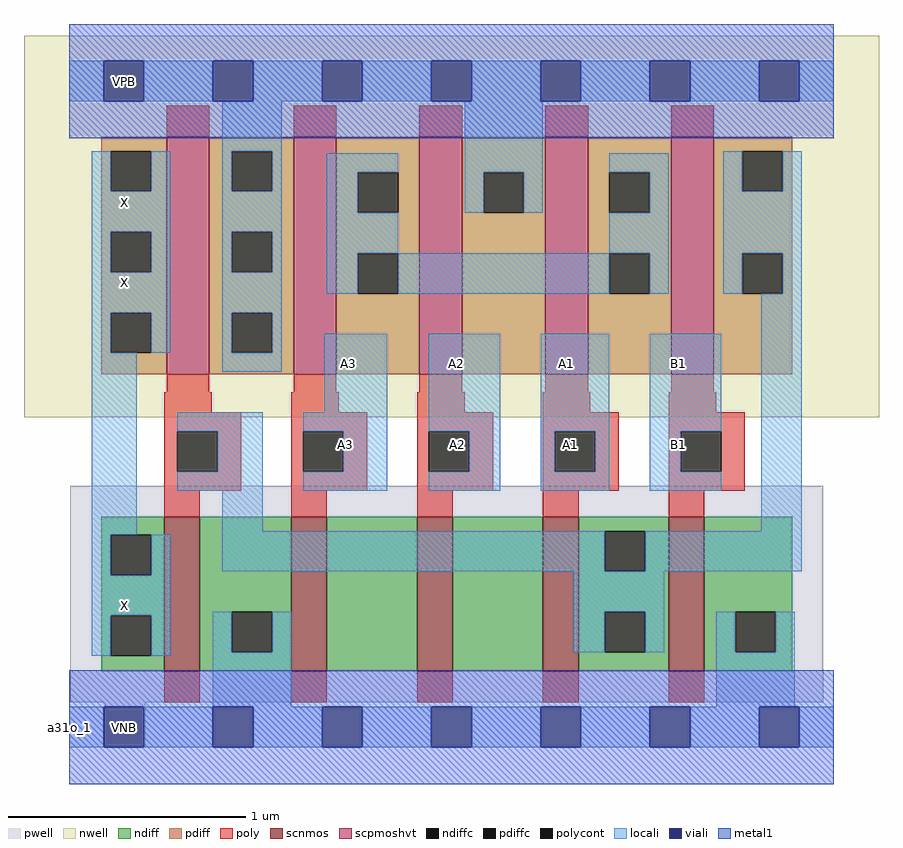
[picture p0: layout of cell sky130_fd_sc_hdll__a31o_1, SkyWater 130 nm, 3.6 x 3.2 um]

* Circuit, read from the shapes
.subckt sky130_fd_sc_hdll__a31o_1 A1 A2 A3 B1 VGND VNB VPB VPWR X
XM1 VGND n1 X VNB sky130_fd_pr__nfet_01v8 w=0.65 l=0.15
XM2 n2 A3 VGND VNB sky130_fd_pr__nfet_01v8 w=0.65 l=0.15
XM3 n3 A2 n2 VNB sky130_fd_pr__nfet_01v8 w=0.65 l=0.15
XM4 n1 A1 n3 VNB sky130_fd_pr__nfet_01v8 w=0.65 l=0.15
XM5 VGND B1 n1 VNB sky130_fd_pr__nfet_01v8 w=0.65 l=0.15
XM6 VPWR n1 X VPB sky130_fd_pr__pfet_01v8_hvt w=1 l=0.18
XM7 n4 A3 VPWR VPB sky130_fd_pr__pfet_01v8_hvt w=1 l=0.18
XM8 VPWR A2 n4 VPB sky130_fd_pr__pfet_01v8_hvt w=1 l=0.18
XM9 n4 A1 VPWR VPB sky130_fd_pr__pfet_01v8_hvt w=1 l=0.18
XM10 n1 B1 n4 VPB sky130_fd_pr__pfet_01v8_hvt w=1 l=0.18
.ends

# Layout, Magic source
magic
tech sky130A
magscale 1 2
<< nwell >>
rect -38 261 682 582
<< pwell >>
rect 1 21 635 203
rect 30 -17 64 21
<< scnmos >>
rect 80 47 110 177
rect 187 47 217 177
rect 293 47 323 177
rect 399 47 429 177
rect 505 47 535 177
<< scpmoshvt >>
rect 82 297 118 497
rect 189 297 225 497
rect 295 297 331 497
rect 401 297 437 497
rect 507 297 543 497
<< ndiff >>
rect 27 162 80 177
rect 27 128 35 162
rect 69 128 80 162
rect 27 94 80 128
rect 27 60 35 94
rect 69 60 80 94
rect 27 47 80 60
rect 110 97 187 177
rect 110 63 137 97
rect 171 63 187 97
rect 110 47 187 63
rect 217 47 293 177
rect 323 47 399 177
rect 429 165 505 177
rect 429 131 451 165
rect 485 131 505 165
rect 429 97 505 131
rect 429 63 451 97
rect 485 63 505 97
rect 429 47 505 63
rect 535 97 609 177
rect 535 63 561 97
rect 595 63 609 97
rect 535 47 609 63
<< pdiff >>
rect 27 485 82 497
rect 27 451 35 485
rect 69 451 82 485
rect 27 417 82 451
rect 27 383 35 417
rect 69 383 82 417
rect 27 349 82 383
rect 27 315 35 349
rect 69 315 82 349
rect 27 297 82 315
rect 118 485 189 497
rect 118 451 137 485
rect 171 451 189 485
rect 118 417 189 451
rect 118 383 137 417
rect 171 383 189 417
rect 118 349 189 383
rect 118 315 137 349
rect 171 315 189 349
rect 118 297 189 315
rect 225 467 295 497
rect 225 433 243 467
rect 277 433 295 467
rect 225 399 295 433
rect 225 365 243 399
rect 277 365 295 399
rect 225 297 295 365
rect 331 467 401 497
rect 331 433 349 467
rect 383 433 401 467
rect 331 297 401 433
rect 437 467 507 497
rect 437 433 455 467
rect 489 433 507 467
rect 437 399 507 433
rect 437 365 455 399
rect 489 365 507 399
rect 437 297 507 365
rect 543 485 609 497
rect 543 451 567 485
rect 601 451 609 485
rect 543 399 609 451
rect 543 365 567 399
rect 601 365 609 399
rect 543 297 609 365
<< ndiffc >>
rect 35 128 69 162
rect 35 60 69 94
rect 137 63 171 97
rect 451 131 485 165
rect 451 63 485 97
rect 561 63 595 97
<< pdiffc >>
rect 35 451 69 485
rect 35 383 69 417
rect 35 315 69 349
rect 137 451 171 485
rect 137 383 171 417
rect 137 315 171 349
rect 243 433 277 467
rect 243 365 277 399
rect 349 433 383 467
rect 455 433 489 467
rect 455 365 489 399
rect 567 451 601 485
rect 567 365 601 399
<< poly >>
rect 82 497 118 523
rect 189 497 225 523
rect 295 497 331 523
rect 401 497 437 523
rect 507 497 543 523
rect 82 282 118 297
rect 189 282 225 297
rect 295 282 331 297
rect 401 282 437 297
rect 507 282 543 297
rect 80 265 120 282
rect 187 265 227 282
rect 293 265 333 282
rect 399 265 439 282
rect 505 265 545 282
rect 80 249 145 265
rect 80 215 91 249
rect 125 215 145 249
rect 80 199 145 215
rect 187 249 251 265
rect 187 215 197 249
rect 231 215 251 249
rect 187 199 251 215
rect 293 249 357 265
rect 293 215 303 249
rect 337 215 357 249
rect 293 199 357 215
rect 399 249 463 265
rect 399 215 409 249
rect 443 215 463 249
rect 399 199 463 215
rect 505 249 569 265
rect 505 215 515 249
rect 549 215 569 249
rect 505 199 569 215
rect 80 177 110 199
rect 187 177 217 199
rect 293 177 323 199
rect 399 177 429 199
rect 505 177 535 199
rect 80 21 110 47
rect 187 21 217 47
rect 293 21 323 47
rect 399 21 429 47
rect 505 21 535 47
<< polycont >>
rect 91 215 125 249
rect 197 215 231 249
rect 303 215 337 249
rect 409 215 443 249
rect 515 215 549 249
<< locali >>
rect 0 527 29 561
rect 63 527 121 561
rect 155 527 213 561
rect 247 527 305 561
rect 339 527 397 561
rect 431 527 489 561
rect 523 527 581 561
rect 615 527 644 561
rect 129 485 179 527
rect 19 451 35 485
rect 69 451 85 485
rect 19 417 85 451
rect 19 383 35 417
rect 69 383 85 417
rect 19 349 85 383
rect 19 315 35 349
rect 69 315 85 349
rect 129 451 137 485
rect 171 451 179 485
rect 129 417 179 451
rect 129 383 137 417
rect 171 383 179 417
rect 129 349 179 383
rect 217 467 277 483
rect 217 433 243 467
rect 333 467 399 527
rect 333 433 349 467
rect 383 433 399 467
rect 455 467 505 483
rect 489 433 505 467
rect 217 399 277 433
rect 455 399 505 433
rect 217 365 243 399
rect 277 365 455 399
rect 489 365 505 399
rect 551 451 567 485
rect 601 451 617 485
rect 551 399 617 451
rect 551 365 567 399
rect 601 365 617 399
rect 129 315 137 349
rect 171 315 179 349
rect 19 162 57 315
rect 129 299 179 315
rect 215 265 268 331
rect 91 249 163 265
rect 125 215 163 249
rect 91 199 163 215
rect 197 249 268 265
rect 231 215 268 249
rect 197 199 268 215
rect 303 249 363 331
rect 337 215 363 249
rect 303 199 363 215
rect 397 249 455 331
rect 397 215 409 249
rect 443 215 455 249
rect 397 199 455 215
rect 489 249 549 331
rect 489 215 515 249
rect 489 199 549 215
rect 129 165 163 199
rect 583 165 617 365
rect 19 128 35 162
rect 69 128 85 162
rect 129 131 451 165
rect 485 131 617 165
rect 19 94 85 128
rect 425 97 501 131
rect 19 60 35 94
rect 69 60 85 94
rect 121 63 137 97
rect 171 63 187 97
rect 425 63 451 97
rect 485 63 501 97
rect 545 63 561 97
rect 595 63 611 97
rect 121 17 187 63
rect 545 17 611 63
rect 0 -17 29 17
rect 63 -17 121 17
rect 155 -17 213 17
rect 247 -17 305 17
rect 339 -17 397 17
rect 431 -17 489 17
rect 523 -17 581 17
rect 615 -17 644 17
<< viali >>
rect 29 527 63 561
rect 121 527 155 561
rect 213 527 247 561
rect 305 527 339 561
rect 397 527 431 561
rect 489 527 523 561
rect 581 527 615 561
rect 29 -17 63 17
rect 121 -17 155 17
rect 213 -17 247 17
rect 305 -17 339 17
rect 397 -17 431 17
rect 489 -17 523 17
rect 581 -17 615 17
<< metal1 >>
rect 0 561 644 592
rect 0 527 29 561
rect 63 527 121 561
rect 155 527 213 561
rect 247 527 305 561
rect 339 527 397 561
rect 431 527 489 561
rect 523 527 581 561
rect 615 527 644 561
rect 0 496 644 527
rect 0 17 644 48
rect 0 -17 29 17
rect 63 -17 121 17
rect 155 -17 213 17
rect 247 -17 305 17
rect 339 -17 397 17
rect 431 -17 489 17
rect 523 -17 581 17
rect 615 -17 644 17
rect 0 -48 644 -17
<< labels >>
flabel locali s 309 289 343 323 0 FreeSans 200 0 0 0 A2
port 2 nsew signal input
flabel locali s 496 289 530 323 0 FreeSans 200 0 0 0 B1
port 4 nsew signal input
flabel locali s 405 221 439 255 0 FreeSans 200 0 0 0 A1
port 1 nsew signal input
flabel locali s 218 289 252 323 0 FreeSans 200 0 0 0 A3
port 3 nsew signal input
flabel locali s 310 221 344 255 0 FreeSans 200 0 0 0 A2
port 2 nsew signal input
flabel locali s 216 221 250 255 0 FreeSans 200 0 0 0 A3
port 3 nsew signal input
flabel locali s 30 425 64 459 0 FreeSans 200 0 0 0 X
port 9 nsew signal output
flabel locali s 402 289 436 323 0 FreeSans 200 0 0 0 A1
port 1 nsew signal input
flabel locali s 30 357 64 391 0 FreeSans 200 0 0 0 X
port 9 nsew signal output
flabel locali s 30 85 64 119 0 FreeSans 200 0 0 0 X
port 9 nsew signal output
flabel locali s 496 221 530 255 0 FreeSans 200 0 0 0 B1
port 4 nsew signal input
flabel nwell s 30 527 64 561 0 FreeSans 200 0 0 0 VPB
port 7 nsew power bidirectional
flabel pwell s 30 -17 64 17 0 FreeSans 200 0 0 0 VNB
port 6 nsew ground bidirectional
flabel metal1 s 30 -17 64 17 0 FreeSans 200 0 0 0 VGND
port 5 nsew ground bidirectional
flabel metal1 s 30 527 64 561 0 FreeSans 200 0 0 0 VPWR
port 8 nsew power bidirectional
rlabel comment s 0 0 0 0 4 a31o_1
<< properties >>
string LEFsite unithd
string LEFclass CORE
string FIXED_BBOX 0 0 644 544
string GDS_FILE $PDKPATH/libs.ref/sky130_fd_sc_hdll/gds/sky130_fd_sc_hdll.gds
string LEFsymmetry X Y R90
string GDS_END 1331628
string GDS_START 1324998
string LEFproperties maskLayoutSubType "abstract" prCellType "standard" originalViewName "layout"
<< end >>
